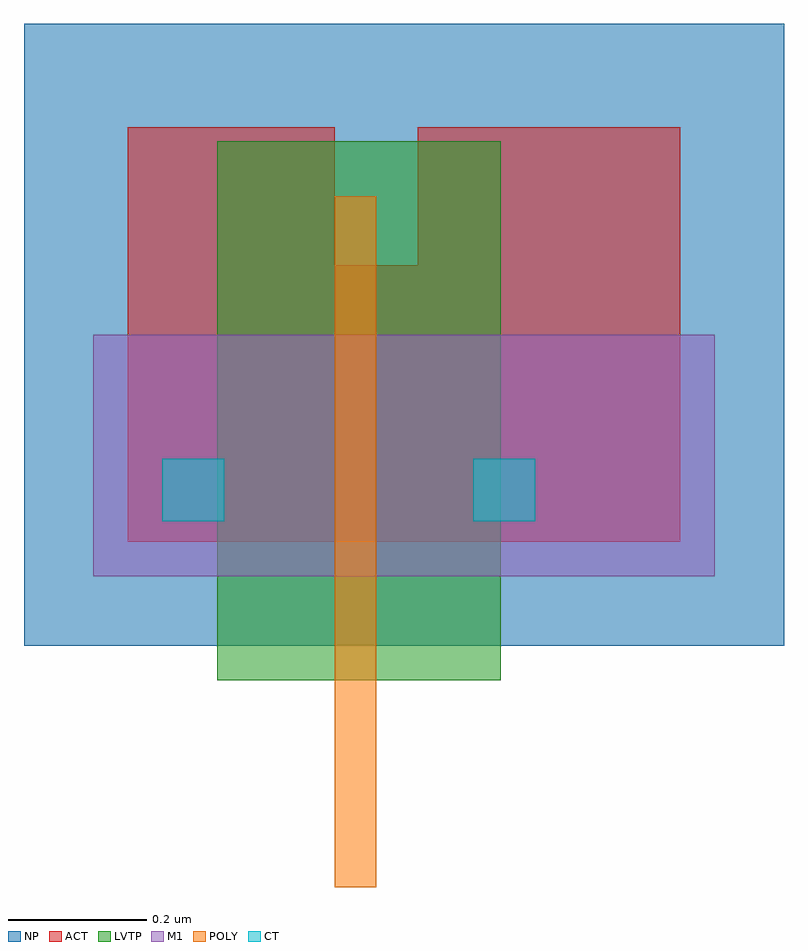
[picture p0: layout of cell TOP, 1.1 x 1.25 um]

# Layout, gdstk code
import gdstk
lib = gdstk.Library(unit=1e-6, precision=1e-09)
def R(c, l, rs):  # rectangles x0, y0, x1, y1
    for r in rs: c.add(gdstk.rectangle(r[:2], r[2:], *l))
def P(c, l, *ps):  # polygons
    for p in ps: c.add(gdstk.Polygon(p, *l))
ACT = (2, 1)
LVTP = (18, 1)
POLY = (41, 1)
NP = (52, 1)
CT = (72, 1)
M1 = (81, 1)

top = lib.new_cell('TOP')
P(top, ACT, [(0,0),(0,0.6),(0.3,0.6),(0.3,0.4),(0.42,0.4),(0.42,0.6),(0.8,0.6),(0.8,0)])
R(top, LVTP, [(0.13,-0.2,0.54,0.58)])
R(top, POLY, [(0.3,-0.5,0.36,0.5)])
R(top, NP, [(-0.15,-0.15,0.95,0.75)])
R(top, CT, [(0.05,0.03,0.14,0.12), (0.5,0.03,0.59,0.12)])
R(top, M1, [(-0.05,-0.05,0.85,0.3)])

lib.write_gds('TOP.gds')
